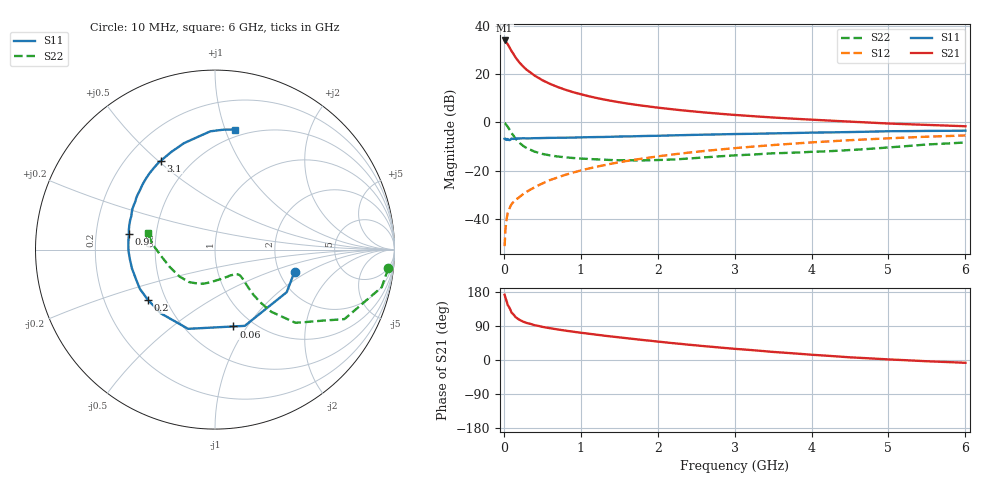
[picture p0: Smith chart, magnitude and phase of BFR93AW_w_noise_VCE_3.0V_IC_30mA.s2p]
! Infineon Technologies  Discrete & RF Semiconductors
! BFR93AW
! VCE =  3.0 V,  IC =  30 mA
! Common Emitter S-Parameters:  Jan 2017
# GHz  S  MA  R  50
!  f  S11  S21  S12  S22
! GHz  MAG  ANG  MAG  ANG  MAG  ANG  MAG  ANG
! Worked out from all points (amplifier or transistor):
!   77 points, 10 MHz to 6 GHz, reference 50 ohm
!   highest |S21| = 33.9 dB at 10 MHz (marker M1)
!   |S21| within 3 dB of that: start of sweep to 75.85 MHz
!   unconditionally stable (mu >= 1): 534.7 MHz to 2.094 GHz
!   at 130 MHz: K = 0.55, MSG = 30.4 dB, |S12| = -32.7 dB
!   at 2.2 GHz: K = 0.99, MSG = 9.3 dB, |S12| = -13.2 dB
!   at 6 GHz: K = 0.90, MSG = 1.9 dB, |S12| = -5.3 dB
!   lowest NFmin = 1.79 dB at 450 MHz
!   S11 on the Smith chart (normalised r, x): 10 MHz: 2.42, -0.76; 60 MHz: 0.82, -0.87; 200 MHz: 0.40, -0.28; 900 MHz: 0.35, +0.08; 3.1 GHz: 0.34, +0.51; 6 GHz: 0.44, +1.08
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0.01  0.46 -15.6  49.31 172.1  0.0028 81.8  0.971 -6.2
0.02  0.4647 -30.7  48.59 164.8  0.006 80.4  0.9524 -12.7
0.05  0.4561 -68.7  41.44 145.4  0.0135 68.7  0.8189 -28.2
0.06  0.4403 -76.5  38.81 142.3  0.0149 66.5  0.7732 -30.4
0.1  0.4662 -108.8  29.87 125.0  0.0206 60.6  0.6058 -42.3
0.15  0.4662 -130.4  22.27 113.6  0.025 57.8  0.4666 -47.9
0.2  0.4671 -143.2  17.48 106.4  0.0287 60.3  0.3833 -49.4
0.25  0.4722 -152.3  14.35 101.2  0.0331 61.6  0.3304 -49.6
0.3  0.47 -158.6  12.1 97.6  0.0374 63.5  0.2932 -49.0
0.4  0.4745 -167.3  9.259 91.8  0.0459 66.4  0.2502 -47.6
0.5  0.4775 -173.8  7.461 87.5  0.055 67.7  0.2248 -46.5
0.6  0.4816 -178.8  6.272 83.8  0.0649 69.0  0.2095 -46.1
0.7  0.4836 177.0  5.395 80.7  0.0734 70.2  0.1986 -46.1
0.9  0.4877 169.8  4.224 74.7  0.0926 70.4  0.185 -48.0
1.1  0.4969 163.7  3.498 69.5  0.1117 69.7  0.1768 -51.2
1.3  0.5021 158.3  2.983 64.4  0.1309 68.9  0.1709 -55.9
1.5  0.5132 153.6  2.616 59.8  0.1507 67.8  0.1662 -62.0
2.1  0.5368 140.2  1.944 46.6  0.2092 63.2  0.1697 -84.2
3.1  0.5801 121.2  1.397 28.0  0.3046 53.7  0.213 -117.6
4.1  0.6203 104.7  1.122 12.6  0.3965 43.2  0.2508 -146.3
5.1  0.661 90.9  0.939 0.6  0.4787 32.0  0.3136 -176.7
6  0.6779 80.6  0.836 -7.4  0.5406 21.9  0.3864 166.0
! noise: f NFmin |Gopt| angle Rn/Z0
0.45  1.79  0.18  173  0.16
0.9  2.06  0.26  -175  0.16
1.9  3.1  0.5  -135  0.29
2.4  3.75  0.55  -124  0.55
